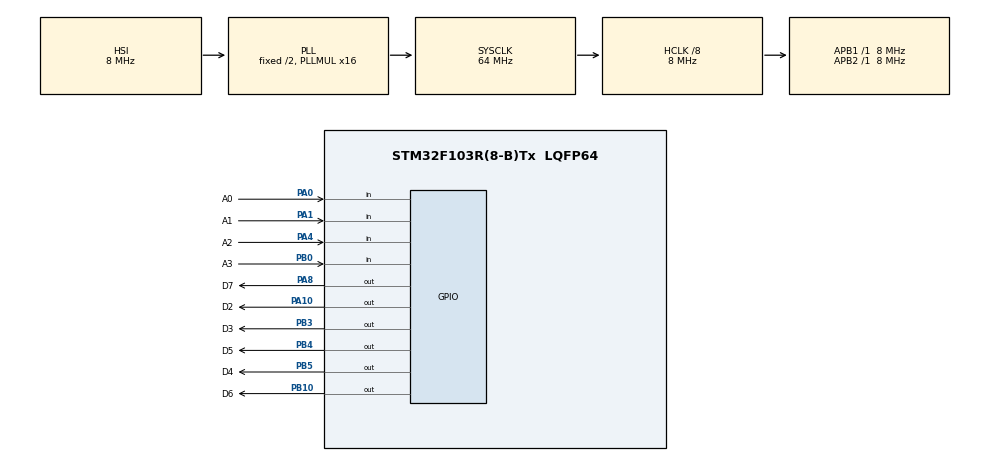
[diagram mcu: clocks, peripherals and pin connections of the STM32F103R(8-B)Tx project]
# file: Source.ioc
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Mcu.Family=STM32F1
Mcu.Name=STM32F103R(8-B)Tx
Mcu.Package=LQFP64
NVIC.PriorityGroup=NVIC_PRIORITYGROUP_4
NVIC.TIM2_IRQn=true\:0\:0\:false\:false\:true\:true\:true
PA0-WKUP.GPIO_Label=A0
PA0-WKUP.GPIO_PuPd=GPIO_PULLUP
PA0-WKUP.Signal=GPIO_Input
PA1.GPIO_Label=A1
PA1.GPIO_PuPd=GPIO_PULLUP
PA1.Signal=GPIO_Input
PA10.GPIO_Label=D2
PA10.Signal=GPIO_Output
PA13.Mode=Serial_Wire
PA13.Signal=SYS_JTMS-SWDIO
PA14.Mode=Serial_Wire
PA14.Signal=SYS_JTCK-SWCLK
PA4.GPIO_Label=A2
PA4.GPIO_PuPd=GPIO_PULLUP
PA4.Signal=GPIO_Input
PA8.GPIO_Label=D7
PA8.Signal=GPIO_Output
PB0.GPIO_Label=A3
PB0.GPIO_PuPd=GPIO_PULLUP
PB0.Signal=GPIO_Input
PB10.GPIO_Label=D6
PB10.Signal=GPIO_Output
PB3.GPIO_Label=D3
PB3.Signal=GPIO_Output
PB4.GPIO_Label=D5
PB4.Signal=GPIO_Output
PB5.GPIO_Label=D4
PB5.Signal=GPIO_Output
ProjectManager.HeapSize=0x200
ProjectManager.StackSize=0x400
ProjectManager.TargetToolchain=STM32CubeIDE
RCC.AHBCLKDivider=RCC_SYSCLK_DIV8
RCC.AHBFreq_Value=8000000
RCC.APB1Freq_Value=8000000
RCC.APB1TimFreq_Value=8000000
RCC.APB2Freq_Value=8000000
RCC.APB2TimFreq_Value=8000000
RCC.HCLKFreq_Value=8000000
RCC.PLLMUL=RCC_PLL_MUL16
RCC.SYSCLKFreq_VALUE=64000000
RCC.SYSCLKSource=RCC_SYSCLKSOURCE_PLLCLK
RCC.USBFreq_Value=64000000
TIM2.Period=9
VP_TIM2_VS_ClockSourceINT.Mode=Internal
board=custom

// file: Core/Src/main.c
/* USER CODE BEGIN Header */
/**
  ******************************************************************************
  * @file           : main.c
  * @brief          : Main program body
  ******************************************************************************
  * @attention
  *
  * <h2><center>&copy; Copyright (c) 2023 STMicroelectronics.
  * All rights reserved.</center></h2>
  *
  * This software component is licensed by ST under BSD 3-Clause license,
  * the "License"; You may not use this file except in compliance with the
  * License. You may obtain a copy of the License at:
  *                        opensource.org/licenses/BSD-3-Clause
  *
  ******************************************************************************
  */
/* USER CODE END Header */
#include "main.h"

/* USER CODE BEGIN Includes */
#include "software_timer.h"
#include "button.h"
#include "fsm_automatic.h"
#include "fsm_manual.h"
/* USER CODE END Includes */

TIM_HandleTypeDef htim2;

void SystemClock_Config(void);
static void MX_GPIO_Init(void);
static void MX_TIM2_Init(void);

int main(void)
{

  /* MCU Configuration--------------------------------------------------------*/

  /* Reset of all peripherals, Initializes the Flash interface and the Systick. */
  HAL_Init();

  /* Configure the system clock */
  SystemClock_Config();

  /* Initialize all configured peripherals */
  MX_GPIO_Init();
  MX_TIM2_Init();
  /* USER CODE BEGIN 2 */
  HAL_TIM_Base_Start_IT(&htim2);

  /* USER CODE END 2 */

  /* Infinite loop */
  /* USER CODE BEGIN WHILE */
  status = INIT;

  while (1)
  {
    /* USER CODE END WHILE */

    /* USER CODE BEGIN 3 */
    fsm_automatic_run();
    fsm_manual_run();
  }
  /* USER CODE END 3 */
}

void SystemClock_Config(void)
{
  RCC_OscInitTypeDef RCC_OscInitStruct = {0};
  RCC_ClkInitTypeDef RCC_ClkInitStruct = {0};

  /** Initializes the RCC Oscillators according to the specified parameters
  * in the RCC_OscInitTypeDef structure.
  */
  RCC_OscInitStruct.OscillatorType = RCC_OSCILLATORTYPE_HSI;
  RCC_OscInitStruct.HSIState = RCC_HSI_ON;
  RCC_OscInitStruct.HSICalibrationValue = RCC_HSICALIBRATION_DEFAULT;
  RCC_OscInitStruct.PLL.PLLState = RCC_PLL_ON;
  RCC_OscInitStruct.PLL.PLLSource = RCC_PLLSOURCE_HSI_DIV2;
  RCC_OscInitStruct.PLL.PLLMUL = RCC_PLL_MUL16;
  if (HAL_RCC_OscConfig(&RCC_OscInitStruct) != HAL_OK)
  {
    Error_Handler();
  }
  /** Initializes the CPU, AHB and APB buses clocks
  */
  RCC_ClkInitStruct.ClockType = RCC_CLOCKTYPE_HCLK|RCC_CLOCKTYPE_SYSCLK
                              |RCC_CLOCKTYPE_PCLK1|RCC_CLOCKTYPE_PCLK2;
  RCC_ClkInitStruct.SYSCLKSource = RCC_SYSCLKSOURCE_PLLCLK;
  RCC_ClkInitStruct.AHBCLKDivider = RCC_SYSCLK_DIV8;
  RCC_ClkInitStruct.APB1CLKDivider = RCC_HCLK_DIV1;
  RCC_ClkInitStruct.APB2CLKDivider = RCC_HCLK_DIV1;

  if (HAL_RCC_ClockConfig(&RCC_ClkInitStruct, FLASH_LATENCY_2) != HAL_OK)
  {
    Error_Handler();
  }
}

static void MX_TIM2_Init(void)
{

  TIM_ClockConfigTypeDef sClockSourceConfig = {0};
  TIM_MasterConfigTypeDef sMasterConfig = {0};

  htim2.Instance = TIM2;
  htim2.Init.Prescaler = 0;
  htim2.Init.CounterMode = TIM_COUNTERMODE_UP;
  htim2.Init.Period = 9;
  htim2.Init.ClockDivision = TIM_CLOCKDIVISION_DIV1;
  htim2.Init.AutoReloadPreload = TIM_AUTORELOAD_PRELOAD_DISABLE;
  if (HAL_TIM_Base_Init(&htim2) != HAL_OK)
  {
    Error_Handler();
  }
  sClockSourceConfig.ClockSource = TIM_CLOCKSOURCE_INTERNAL;
  if (HAL_TIM_ConfigClockSource(&htim2, &sClockSourceConfig) != HAL_OK)
  {
    Error_Handler();
  }
  sMasterConfig.MasterOutputTrigger = TIM_TRGO_RESET;
  sMasterConfig.MasterSlaveMode = TIM_MASTERSLAVEMODE_DISABLE;
  if (HAL_TIMEx_MasterConfigSynchronization(&htim2, &sMasterConfig) != HAL_OK)
  {
    Error_Handler();
  }

}

static void MX_GPIO_Init(void)
{
  GPIO_InitTypeDef GPIO_InitStruct = {0};

  /* GPIO Ports Clock Enable */
  __HAL_RCC_GPIOA_CLK_ENABLE();
  __HAL_RCC_GPIOB_CLK_ENABLE();

  /*Configure GPIO pin Output Level */
  HAL_GPIO_WritePin(GPIOB, D6_Pin|D3_Pin|D5_Pin|D4_Pin, GPIO_PIN_RESET);

  /*Configure GPIO pin Output Level */
  HAL_GPIO_WritePin(GPIOA, D7_Pin|D2_Pin, GPIO_PIN_RESET);

  /*Configure GPIO pins : A0_Pin A1_Pin A2_Pin */
  GPIO_InitStruct.Pin = A0_Pin|A1_Pin|A2_Pin;
  GPIO_InitStruct.Mode = GPIO_MODE_INPUT;
  GPIO_InitStruct.Pull = GPIO_PULLUP;
  HAL_GPIO_Init(GPIOA, &GPIO_InitStruct);

  /*Configure GPIO pin : A3_Pin */
  GPIO_InitStruct.Pin = A3_Pin;
  GPIO_InitStruct.Mode = GPIO_MODE_INPUT;
  GPIO_InitStruct.Pull = GPIO_PULLUP;
  HAL_GPIO_Init(A3_GPIO_Port, &GPIO_InitStruct);

  /*Configure GPIO pins : D6_Pin D3_Pin D5_Pin D4_Pin */
  GPIO_InitStruct.Pin = D6_Pin|D3_Pin|D5_Pin|D4_Pin;
  GPIO_InitStruct.Mode = GPIO_MODE_OUTPUT_PP;
  GPIO_InitStruct.Pull = GPIO_NOPULL;
  GPIO_InitStruct.Speed = GPIO_SPEED_FREQ_LOW;
  HAL_GPIO_Init(GPIOB, &GPIO_InitStruct);

  /*Configure GPIO pins : D7_Pin D2_Pin */
  GPIO_InitStruct.Pin = D7_Pin|D2_Pin;
  GPIO_InitStruct.Mode = GPIO_MODE_OUTPUT_PP;
  GPIO_InitStruct.Pull = GPIO_NOPULL;
  GPIO_InitStruct.Speed = GPIO_SPEED_FREQ_LOW;
  HAL_GPIO_Init(GPIOA, &GPIO_InitStruct);

}

/* USER CODE BEGIN 4 */
void HAL_TIM_PeriodElapsedCallback(TIM_HandleTypeDef *htim){
	timerRun(0); // led duration
	timerRun(1); //  7-segment counter 1s
	timerRun(3); // blinking led
	getKeyInput(0);
	getKeyInput(1);
	getKeyInput(2);
	getKeyInput(3);

};
/* USER CODE END 4 */

void Error_Handler(void)
{
  __disable_irq();
  while (1)
  {
  }
}

/************************ (C) COPYRIGHT STMicroelectronics *****END OF FILE****/
